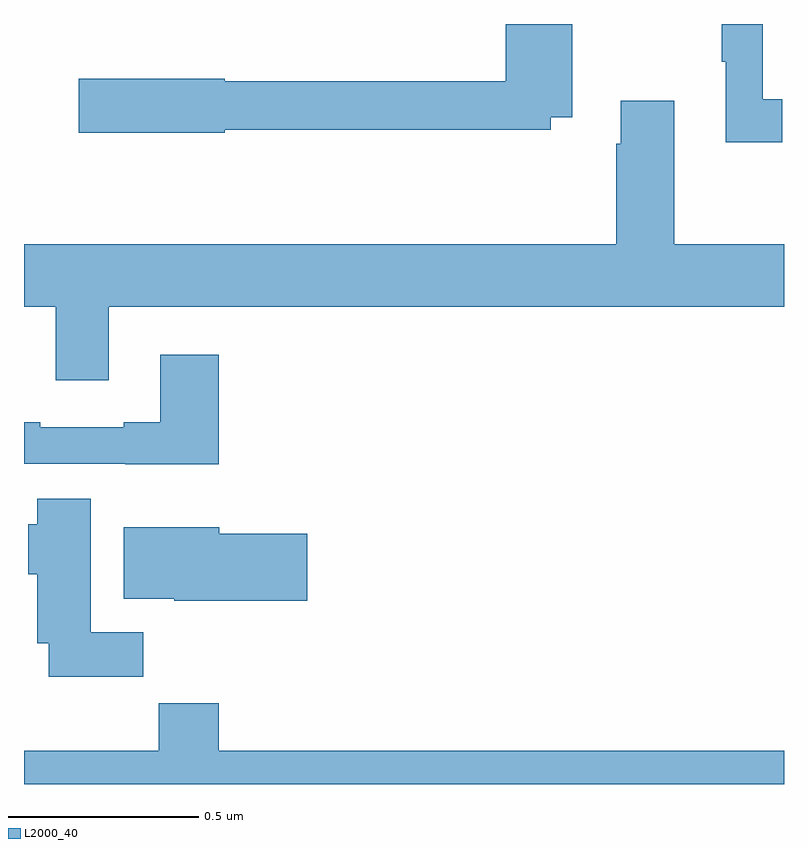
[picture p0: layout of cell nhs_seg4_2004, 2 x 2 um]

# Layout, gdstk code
import gdstk
lib = gdstk.Library(unit=1e-6, precision=1e-09)
def P(c, l, *ps):  # polygons
    for p in ps: c.add(gdstk.Polygon(p, *l))
L2000_40 = (2000, 40)

nhs_seg4_2004 = lib.new_cell('nhs_seg4_2004')
P(nhs_seg4_2004, L2000_40, [(136.996,794.702),(136.944,794.702),(136.944,794.9),(136.836,794.9),(136.836,794.801),(136.847,794.801),(136.847,794.589),(136.996,794.589)],
  [(135.528,794.622),(136.386,794.622),(136.386,794.654),(136.443,794.654),(136.443,794.9),(136.268,794.9),(136.268,794.75),(135.528,794.75),(135.528,794.756),(135.144,794.756),(135.144,794.614),(135.528,794.614)],
  [(135.223,794.156),(137,794.156),(137,794.32),(136.711,794.32),(136.711,794.698),(136.571,794.698),(136.571,794.585),(136.559,794.585),(136.559,794.32),(135,794.32),(135,794.156),(135.083,794.156),(135.083,793.962),(135.223,793.962)],
  [(135.512,794.029),(135.359,794.029),(135.359,793.852),(135.263,793.852),(135.263,793.839),(135.043,793.839),(135.043,793.852),(135,793.852),(135,793.743),(135.267,793.743),(135.267,793.742),(135.512,793.742)],
  [(135.314,793.3),(135.175,793.3),(135.175,793.651),(135.035,793.651),(135.035,793.584),(135.011,793.584),(135.011,793.452),(135.035,793.452),(135.035,793.271),(135.065,793.271),(135.065,793.182),(135.314,793.182)],
  [(135.745,793.559),(135.514,793.559),(135.514,793.576),(135.263,793.576),(135.263,793.388),(135.396,793.388),(135.396,793.382),(135.745,793.382)],
  [(137,792.988),(135.512,792.988),(135.512,793.112),(135.355,793.112),(135.355,792.988),(135,792.988),(135,792.9),(137,792.9)])

lib.write_gds('nhs_seg4_2004.gds')
